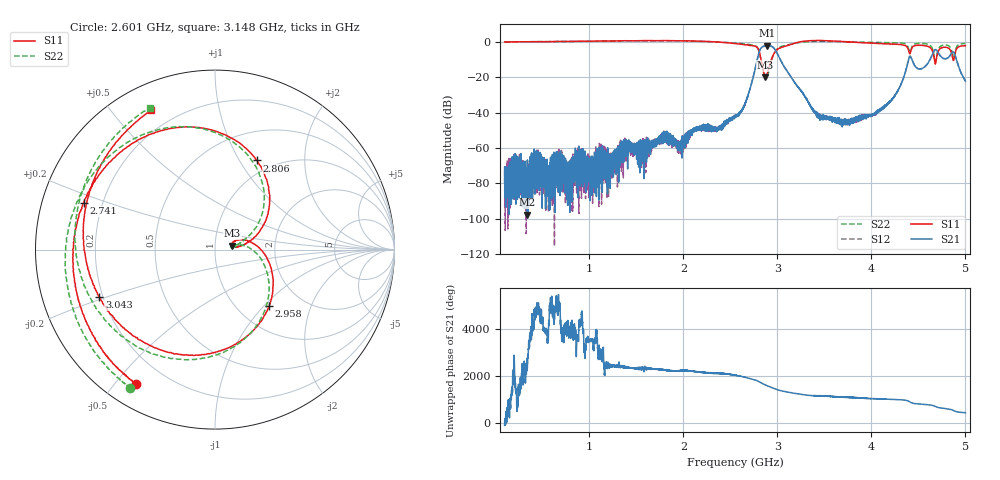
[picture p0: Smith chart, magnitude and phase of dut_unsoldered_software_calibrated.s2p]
!Keysight Technologies N9917A: A.13.25
!Date: Thursday, 15 October 2026 16:12:21
!Timezone: (UTC-08:00) Pacific Time (US & Canada)
!Model: N9917A
!Serial: MY56072049
!GPS Latitude:
!GPS Longitude:
!GPS TimeStamp: 0001-01-01 00:00:00Z
!GPS Seconds Since Last Read: 0
!CHECKSUM:0079315714
!Correction: S11(Rdy)S21(Rdy)S12(Rdy)S22(Rdy)
!S2P File: Measurements:S11,S21,S12,S22:
! Created with skrf 2.1.0 (http://scikit-rf.org).
# Hz S RI R 50.0
!freq ReS11 ImS11 ReS21 ImS21 ReS12 ImS12 ReS22 ImS22
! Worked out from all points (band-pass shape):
!   10001 points, 100 MHz to 5 GHz, reference 50 ohm
!   highest |S21| = -2.08 dB at 2.895 GHz (marker M1); lowest = -97.8 dB at 343 MHz (marker M2)
!   |S21| within 3 dB of the highest: 2.811 GHz to 2.984 GHz (173.5 MHz wide, 5.99 % of centre); 4.667 GHz to 4.698 GHz (31.41 MHz wide, 0.671 % of centre)
!   lowest |S11| = -20.1 dB at 2.873 GHz (marker M3), VSWR 1.22, Z = 60.5 + j2.67 ohm
!   |S11| at or under -10 dB: 2.827 GHz to 2.936 GHz (108.1 MHz wide, 3.75 % of centre); 4.670239 GHz to 4.690423 GHz (20.18 MHz wide, 0.431 % of centre); 4.867976 GHz to 4.87736 GHz (9.384 MHz wide, 0.193 % of centre)
!   |S22| runs from -20.9 to 0.6 dB; largest |S21 - S12| = 0.0039
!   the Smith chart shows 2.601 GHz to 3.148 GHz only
!   S11 on the Smith chart (normalised r, x): 2.601 GHz: 0.09, -0.57; 2.741 GHz: 0.13, +0.17; 2.806 GHz: 0.84, +1.19; 2.958 GHz: 1.39, -1.07; 3.043 GHz: 0.19, -0.19; 3.148 GHz: 0.11, +0.64
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1e8  -0.9876 0.1544  -1.46e-05 -0.000105  0.000117 0.000196  -0.9886 0.1519
3.4304e8  -0.8654 0.5122  1.29e-05 -8.58e-07  -7.56e-05 0.000217  -0.8686 0.5082
9.1683e8  -0.1774 1.031  0.000376 -0.000175  0.000202 -0.000102  -0.1843 1.021
1.73366e9  0.9804 0.4607  -0.00113 0.000999  -0.000846 0.00113  0.9606 0.4678
2.18936e9  0.8978 -0.524  0.00397 0.000241  0.00351 9.64e-05  0.8942 -0.5219
2.55e9  -0.2113 -0.8718  -0.0034 -0.00677  -0.00354 -0.00707  -0.2331 -0.8937
2.60096e9  -0.442 -0.7471  -0.0089 -0.00384  -0.00918 -0.00366  -0.4716 -0.769
2.74061e9  -0.7317 0.2608  0.0402 0.0846  0.0408 0.0853  -0.7614 0.2768
2.80627e9  0.2334 0.4968  0.4011 -0.3188  0.3999 -0.318  0.2164 0.4815
2.8734e9  0.0959 0.0218  -0.7736 -0.064  -0.7746 -0.0641  0.0971 0.0112
2.89545e9  0.1212 0.0513  -0.6659 0.4192  -0.6646 0.4173  0.1 0.0243
2.95817e9  0.3025 -0.3122  0.4767 0.4954  0.4776 0.4941  0.2872 -0.3076
3.04294e9  -0.6443 -0.2629  0.1202 -0.247  0.1191 -0.2474  -0.6862 -0.2836
3.14829e9  -0.3541 0.7771  -0.0841 -0.0524  -0.0841 -0.0532  -0.363 0.7901
3.36683e9  1.07 0.1685  -0.000636 0.0136  -0.00101 0.0135  1.014 0.1446
3.68092e9  0.3587 -0.9638  0.00456 0.00284  0.00514 0.00186  0.362 -0.9498
4.18366e9  -0.7103 -0.514  0.00817 -0.0166  0.00883 -0.0166  -0.7482 -0.5878
4.40661e9  -0.4605 -0.0707  -0.3765 -0.0736  -0.3789 -0.074  -0.5177 -0.0826
4.56635e9  -0.7766 0.0818  0.0375 0.1915  0.0372 0.1931  -0.8897 0.0677
4.68003e9  -0.2369 0.0411  0.5962 -0.1001  0.5933 -0.1026  -0.2654 0.0512
4.86427e9  -0.313 0.1551  -0.4962 -0.131  -0.4982 -0.1285  -0.3867 0.1919
5e9  -0.7587 0.1878  0.00607 0.0778  0.00544 0.0777  -0.8765 0.2161
